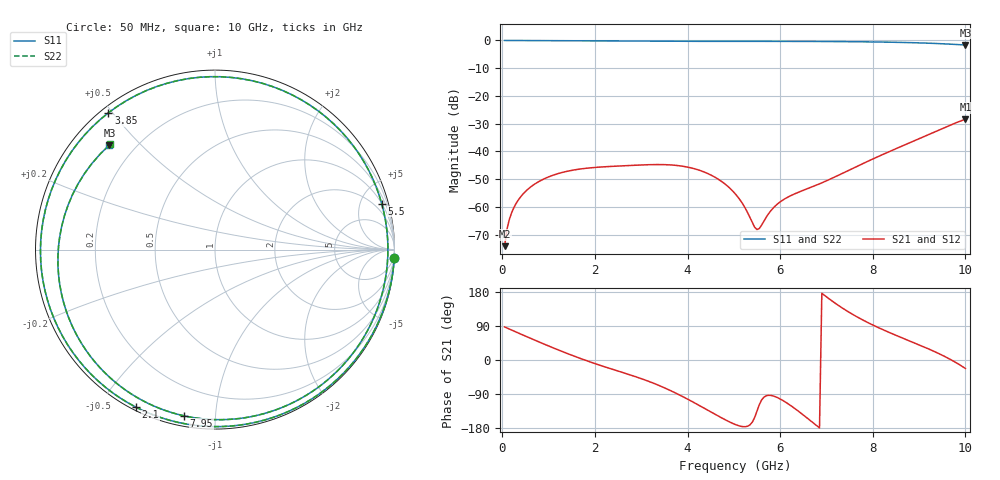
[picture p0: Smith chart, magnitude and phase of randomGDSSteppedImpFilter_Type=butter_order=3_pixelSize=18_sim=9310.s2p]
! freq	dB(S11)	phase(S11)	dB(S12)	phase(S12)
!  dB(S21)	phase(S21)	dB(S22)	phase(S22)
!S-par simulation data
#  GHz  S  DB  R 50
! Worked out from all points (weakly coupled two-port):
!   200 points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, 50 MHz to 10 GHz, reference 50 ohm
!   highest |S21| = -28.44 dB at 10 GHz (marker M1); lowest = -74.2 dB at 50 MHz (marker M2)
!   lowest |S11| = -1.6 dB at 10 GHz (marker M3), VSWR 10.63, Z = 5.49 + j20.4 ohm
!   |S11| at or under -10 dB: nowhere
!   |S22| runs from -1.6 to 0.0 dB; largest |S21 - S12| = 0
!   S11 on the Smith chart (normalised r, x): 50 MHz: 0, -42; 2.1 GHz: 0.01, -0.62; 3.85 GHz: 0.02, +0.49; 5.5 GHz: 1.01, +7.24; 7.95 GHz: 0.05, -0.83; 10 GHz: 0.11, +0.41
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0.05  -0.00 -2.7  -74.19 87.2  -74.19 87.2  -0.00 -2.7
0.1  -0.01 -5.5  -68.18 84.5  -68.18 84.5  -0.01 -5.5
0.2  -0.02 -10.9  -62.20 79.1  -62.20 79.1  -0.02 -10.9
0.5  -0.04 -27.1  -54.47 63.0  -54.47 63.0  -0.04 -27.1
1.15  -0.08 -62.6  -48.29 29.5  -48.29 29.5  -0.08 -62.7
1.75  -0.13 -96.3  -46.21 1.2  -46.21 1.2  -0.13 -96.4
2.1  -0.16 -116.7  -45.67 -13.5  -45.67 -13.5  -0.16 -116.7
2.8  -0.22 -159.9  -45.06 -40.9  -45.06 -40.9  -0.22 -160.0
3.4  -0.27 159.9  -44.75 -68.0  -44.75 -68.0  -0.27 159.6
3.85  -0.30 127.9  -45.25 -93.7  -45.25 -93.7  -0.30 127.6
4.45  -0.32 84.7  -48.09 -133.4  -48.09 -133.4  -0.32 84.4
5.05  -0.32 43.5  -55.69 -171.1  -55.69 -171.1  -0.33 43.2
5.5  -0.32 15.4  -68.18 -134.8  -68.18 -134.8  -0.32 15.1
6  -0.33 -12.6  -58.22 -102.8  -58.22 -102.8  -0.33 -12.9
6.7  -0.35 -46.9  -52.74 -164.6  -52.74 -164.6  -0.36 -47.1
7.3  -0.41 -73.2  -48.28 140.5  -48.28 140.5  -0.41 -73.4
7.95  -0.52 -100.5  -43.13 95.3  -43.13 95.3  -0.52 -100.7
8.35  -0.62 -117.8  -40.14 73.0  -40.14 73.0  -0.62 -117.9
8.85  -0.80 -141.6  -36.51 47.5  -36.51 47.5  -0.80 -141.8
9.35  -1.08 -170.7  -32.87 21.3  -32.87 21.3  -1.08 -170.9
9.7  -1.36 163.3  -30.35 -0.1  -30.35 -0.1  -1.36 163.0
10  -1.64 135.2  -28.44 -22.2  -28.44 -22.2  -1.64 134.9
